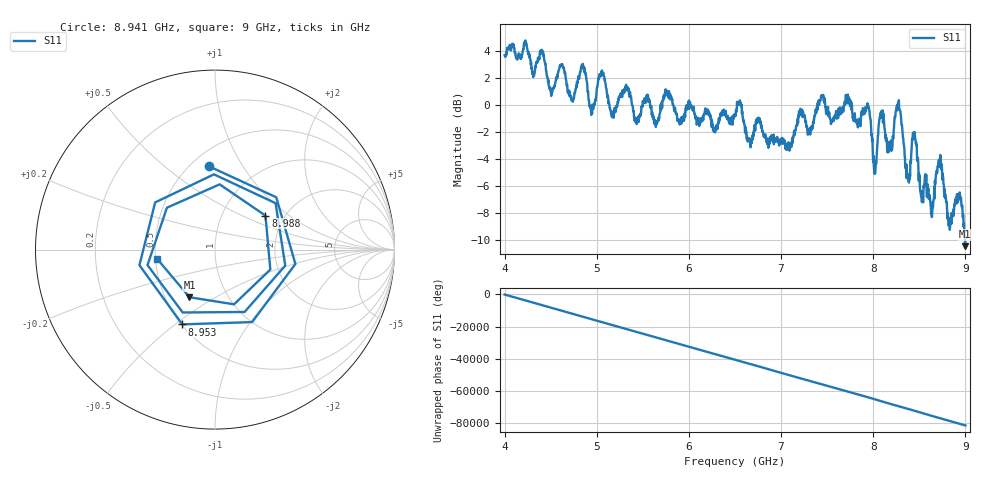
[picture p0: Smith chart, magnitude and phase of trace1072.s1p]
! Created with skrf 1.8.0 (http://scikit-rf.org).
# Hz S RI R 50.0
!freq ReS11 ImS11
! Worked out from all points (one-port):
!   1601 points, 4 GHz to 9 GHz, reference 50 ohm
!   lowest |S11| = -10.4 dB at 8.997 GHz (marker M1), VSWR 1.86, Z = 33.1 - j19.3 ohm
!   |S11| at or under -10 dB: 8.99489 GHz to 8.998784 GHz (3.895 MHz wide, 0.0433 % of centre)
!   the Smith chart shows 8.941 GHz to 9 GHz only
!   S11 on the Smith chart (normalised r, x): 8.941 GHz: 0.61, +0.72; 8.953 GHz: 0.50, -0.53; 8.988 GHz: 1.60, +0.69; 9 GHz: 0.51, -0.06
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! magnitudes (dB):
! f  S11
! 4 GHz  3.7
! 4.509 GHz  0.8
! 4.625 GHz  3.0
! 4.725 GHz  0.3
! 4.844 GHz  3.0
! 4.944 GHz  -0.5
! 5.047 GHz  2.2
! 5.25 GHz  0.6
! 5.875 GHz  -1.2
! 6.5 GHz  -0.8
! 7.125 GHz  -2.4
! 7.75 GHz  0.2
! 7.947 GHz  -0.1
! 8.019 GHz  -5.1
! 8.084 GHz  -0.9
! 8.178 GHz  -2.8
! 8.275 GHz  0.2
! 8.375 GHz  -5.4
! 8.447 GHz  -2.0
! 8.519 GHz  -6.8
! 8.628 GHz  -8.0
! 8.719 GHz  -4.5
! 8.825 GHz  -8.4
! 8.941 GHz  -6.6
! 8.953 GHz  -6.8
! 8.988 GHz  -9.4
! 8.997 GHz  -10.4
! 9 GHz  -9.7
